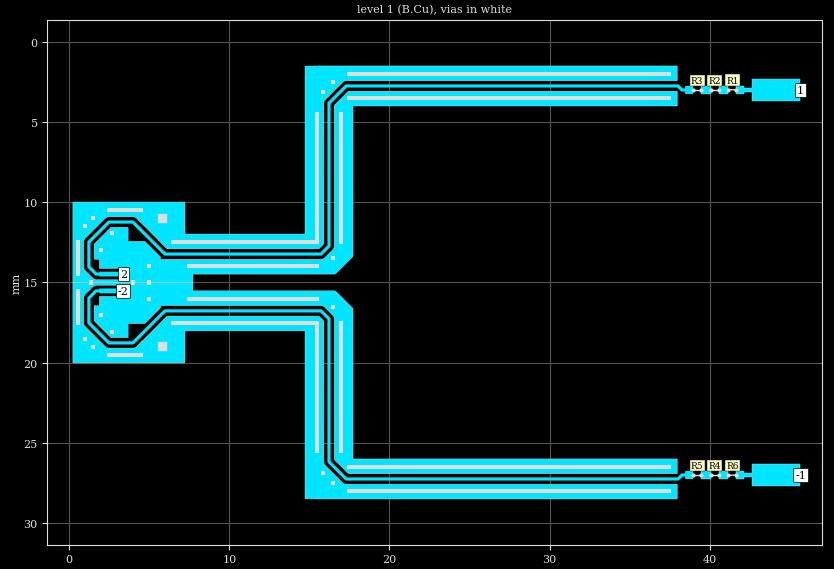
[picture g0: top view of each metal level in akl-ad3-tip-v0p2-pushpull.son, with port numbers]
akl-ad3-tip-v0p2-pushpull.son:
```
FTYP SONPROJ 19 ! Sonnet Project File
VER 18.01
HEADER
LIC antikernel2.1.51176 90e2ba8817c1 havequick azonenberg FullLicense
DAT 10/08/2021 08:49:10
BUILT_BY_CREATED dxf 18.01 09/25/2021 05:46:11
BUILT_BY_SAVED sonnet 18.01
MDATE 10/08/2021 08:49:10
HDATE 10/08/2021 08:49:10
ANN Created by dxfgeo, Sonnet Software Inc.
END HEADER
DIM
ANG DEG
CAP PF
CON /OH
FREQ GHZ
IND NH
LNG MM
RES OH
END DIM
CONTROL
VARSWP
OPTIONS  -dj
SPEED 1
CACHE_ABS 2
Q_ACC N
END CONTROL
GEO
TMET "Free Space" 0 FREESPACE 376.7303136 0 0 0
BMET "Lossless" 0 SUP 0 0 0 0
MET "Copper 1oz thick" 1 TMM 58000000 0.5 0.035 2
MET "Unknown_metal" 1 VOL INF 0
BOX 2 45.675 30 3654 2400 20 0
      5 1 1 0 0 0 0 "Air"
      0.035 4.3 1 0.02 0 0 0 "Soldermask"
      0.1016 3.2 1 0.002 0 0 0 "Panasonic R-F775"
TECHLAY METAL B.Cu L1D0 -1 -65534 
1 0 0 N 438 1 1 100 100 0 0 0 Y
END
END
TECHLAY VIA Via1 L2D0 -2 -65534 
VIA POLYGON
1 0 -1 N 485 1 1 100 100 0 0 0 Y
TOLEVEL 2 RING NOCOVERS
END
END
LORGN 0 30 U 
POR1 CUP Auto
GNDREF AUTO
TERMW FEED
POLY 7 1
122
2 50 0 0 0 3.375 14.475 
CUPGRP "Auto" LOCAL
ID 483
END
POR1 BOX
POLY 321 1
11
1 50 0 0 0 45.675 2.975 
POR1 BOX
POLY 403 1
11
-1 50 0 0 0 45.675 27.025 
POR1 CUP Auto
GNDREF AUTO
TERMW FEED
POLY 409 1
122
-2 50 0 0 0 3.375 15.525 
CUPGRP "Auto" LOCAL
ID 484
END
SMD 1 "R1"
ID 338
GNDREF AUTO
SBOX 41.3 41.55 2.8375 3.0875
PBSHW N
LPOS 41.425 2.8375
TYPE SPARAM 1
SMDP 1 41.675 2.975 R 3 1 
EXSMDP
GNDREF AUTO
TERMW FEED
END EXSMDP
SMDP 1 41.175 2.95 L 4 2 
EXSMDP
GNDREF AUTO
TERMW FEED
END EXSMDP
END
SMD 1 "R2"
ID 343
GNDREF AUTO
SBOX 40.2 40.45 2.85 3.1
PBSHW N
LPOS 40.325 2.85
TYPE SPARAM 1
SMDP 1 40.575 2.975 R 5 1 
EXSMDP
GNDREF AUTO
TERMW FEED
END EXSMDP
SMDP 1 40.075 2.975 L 6 2 
EXSMDP
GNDREF AUTO
TERMW FEED
END EXSMDP
END
SMD 1 "R3"
ID 348
GNDREF AUTO
SBOX 39.1 39.35 2.85 3.1
PBSHW N
LPOS 39.225 2.85
TYPE SPARAM 2
SMDP 1 39.475 2.975 R 7 1 
EXSMDP
GNDREF AUTO
TERMW FEED
END EXSMDP
SMDP 1 38.975 2.975 L 8 2 
EXSMDP
GNDREF AUTO
TERMW FEED
END EXSMDP
END
SMD 1 "R4"
ID 379
GNDREF AUTO
SBOX 40.2 40.45 26.9 27.15
PBSHW N
LPOS 40.325 26.9
TYPE SPARAM 1
SMDP 1 40.575 27.025 R 9 1 
EXSMDP
GNDREF AUTO
TERMW FEED
END EXSMDP
SMDP 1 40.075 27.025 L 10 2 
EXSMDP
GNDREF AUTO
TERMW FEED
END EXSMDP
END
SMD 1 "R5"
ID 382
GNDREF AUTO
SBOX 39.1 39.35 26.9 27.15
PBSHW N
LPOS 39.225 26.9
TYPE SPARAM 2
SMDP 1 39.475 27.025 R 11 1 
EXSMDP
GNDREF AUTO
TERMW FEED
END EXSMDP
SMDP 1 38.975 27.025 L 12 2 
EXSMDP
GNDREF AUTO
TERMW FEED
END EXSMDP
END
SMD 1 "R6"
ID 387
GNDREF AUTO
SBOX 41.3 41.55 26.9125 27.1625
PBSHW N
LPOS 41.425 26.9125
TYPE SPARAM 1
SMDP 1 41.675 27.025 R 13 1 
EXSMDP
GNDREF AUTO
TERMW FEED
END EXSMDP
SMDP 1 41.175 27.05 L 14 2 
EXSMDP
GNDREF AUTO
TERMW FEED
END EXSMDP
END
NUM 48
1 5 0 N 5 1 1 100 100 0 0 0 Y
TLAYNAM B.Cu INH
39.475 3.225
39.475 2.725
40.075 2.725
40.075 3.225
39.475 3.225
END
1 5 0 N 6 1 1 100 100 0 0 0 Y
TLAYNAM B.Cu INH
40.575 3.225
40.575 2.725
41.175 2.725
41.175 3.225
40.575 3.225
END
1 125 0 N 7 1 1 100 100 0 0 0 Y
TLAYNAM B.Cu INH
1.875 14.625
1.875 14.575
1.67 14.575
1.66 14.574
1.651 14.572
1.641 14.569
1.632 14.566
1.624 14.561
1.615 14.555
1.608 14.549
1.151 14.092
1.145 14.085
1.139 14.076
1.134 14.068
1.131 14.059
1.128 14.049
1.126 14.04
1.125 14.03
1.125 12.47
1.126 12.46
1.128 12.451
1.131 12.441
1.134 12.432
1.139 12.424
1.145 12.415
1.151 12.408
2.408 11.151
2.415 11.145
2.424 11.139
2.432 11.134
2.441 11.131
2.451 11.128
2.46 11.126
2.47 11.125
3.98 11.125
3.99 11.126
3.999 11.128
4.009 11.131
4.018 11.134
4.026 11.139
4.035 11.145
4.042 11.151
4.049 11.158
4.055 11.165
6.016 13.125
15.684 13.125
16.125 12.684
16.125 3.795
16.126 3.785
16.128 3.776
16.131 3.766
16.134 3.757
16.139 3.749
16.145 3.74
16.151 3.733
17.233 2.651
17.24 2.645
17.249 2.639
17.257 2.634
17.266 2.631
17.276 2.628
17.285 2.626
17.295 2.625
38.03 2.625
38.04 2.626
38.049 2.628
38.059 2.631
38.068 2.634
38.076 2.639
38.085 2.645
38.092 2.651
38.099 2.658
38.105 2.665
38.316 2.875
38.475 2.875
38.475 2.725
38.975 2.725
38.975 3.225
38.475 3.225
38.475 3.075
38.27 3.075
38.26 3.074
38.251 3.072
38.241 3.069
38.232 3.066
38.224 3.061
38.215 3.055
38.208 3.049
37.984 2.825
17.341 2.825
16.325 3.841
16.325 12.73
16.324 12.74
16.322 12.749
16.319 12.759
16.316 12.768
16.311 12.776
16.305 12.785
16.299 12.792
15.792 13.299
15.785 13.305
15.776 13.311
15.768 13.316
15.759 13.319
15.749 13.322
15.74 13.324
15.73 13.325
5.97 13.325
5.96 13.324
5.951 13.322
5.941 13.319
5.932 13.316
5.924 13.311
5.915 13.305
5.908 13.299
3.934 11.325
2.516 11.325
1.325 12.516
1.325 13.984
1.716 14.375
1.875 14.375
1.875 14.325
3.375 14.325
3.375 14.625
1.875 14.625
END
1 13 0 N 321 1 1 100 100 0 0 0 Y
TLAYNAM B.Cu INH
45.675 2.275
42.675 2.275
42.675 2.875
42.175 2.875
42.175 2.725
41.675 2.725
41.675 3.225
42.175 3.225
42.175 3.075
42.675 3.075
42.675 3.675
45.675 3.675
45.675 2.275
END
1 5 0 N 396 1 1 100 100 0 0 0 Y
TLAYNAM B.Cu INH
40.575 26.775
40.575 27.275
41.175 27.275
41.175 26.775
40.575 26.775
END
1 5 0 N 399 1 1 100 100 0 0 0 Y
TLAYNAM B.Cu INH
39.475 26.775
39.475 27.275
40.075 27.275
40.075 26.775
39.475 26.775
END
1 13 0 N 403 1 1 100 100 0 0 0 Y
TLAYNAM B.Cu INH
45.675 27.725
42.675 27.725
42.675 27.125
42.175 27.125
42.175 27.275
41.675 27.275
41.675 26.775
42.175 26.775
42.175 26.925
42.675 26.925
42.675 26.325
45.675 26.325
45.675 27.725
END
1 125 0 N 409 1 1 100 100 0 0 0 Y
TLAYNAM B.Cu INH
1.875 15.375
1.875 15.425
1.67 15.425
1.66 15.426
1.651 15.428
1.641 15.431
1.632 15.434
1.624 15.439
1.615 15.445
1.608 15.451
1.151 15.908
1.145 15.915
1.139 15.924
1.134 15.932
1.131 15.941
1.128 15.951
1.126 15.96
1.125 15.97
1.125 17.53
1.126 17.54
1.128 17.549
1.131 17.559
1.134 17.568
1.139 17.576
1.145 17.585
1.151 17.592
2.408 18.849
2.415 18.855
2.424 18.861
2.432 18.866
2.441 18.869
2.451 18.872
2.46 18.874
2.47 18.875
3.98 18.875
3.99 18.874
3.999 18.872
4.009 18.869
4.018 18.866
4.026 18.861
4.035 18.855
4.042 18.849
4.049 18.842
4.055 18.835
6.016 16.875
15.684 16.875
16.125 17.316
16.125 26.205
16.126 26.215
16.128 26.224
16.131 26.234
16.134 26.243
16.139 26.251
16.145 26.26
16.151 26.267
17.233 27.349
17.24 27.355
17.249 27.361
17.257 27.366
17.266 27.369
17.276 27.372
17.285 27.374
17.295 27.375
38.03 27.375
38.04 27.374
38.049 27.372
38.059 27.369
38.068 27.366
38.076 27.361
38.085 27.355
38.092 27.349
38.099 27.342
38.105 27.335
38.316 27.125
38.475 27.125
38.475 27.275
38.975 27.275
38.975 26.775
38.475 26.775
38.475 26.925
38.27 26.925
38.26 26.926
38.251 26.928
38.241 26.931
38.232 26.934
38.224 26.939
38.215 26.945
38.208 26.951
37.984 27.175
17.341 27.175
16.325 26.159
16.325 17.27
16.324 17.26
16.322 17.251
16.319 17.241
16.316 17.232
16.311 17.224
16.305 17.215
16.299 17.208
15.792 16.701
15.785 16.695
15.776 16.689
15.768 16.684
15.759 16.681
15.749 16.678
15.74 16.676
15.73 16.675
5.97 16.675
5.96 16.676
5.951 16.678
5.941 16.681
5.932 16.684
5.924 16.689
5.915 16.695
5.908 16.701
3.934 18.675
2.516 18.675
1.325 17.484
1.325 16.016
1.716 15.625
1.875 15.625
1.875 15.675
3.375 15.675
3.375 15.375
1.875 15.375
END
1 321 0 N 419 1 1 100 100 0 0 0 Y
TLAYNAM B.Cu INH
37.976 27.6
37.8745 27.6
37.869 27.599
17.315 27.599
17.297 27.601
17.296 27.601
17.285 27.599
17.273 27.599
17.233 27.594
17.178 27.578
17.117 27.546
17.105 27.536
17.098 27.529
17.065 27.502
17.064 27.501
17.059 27.494
16.006 26.441
16 26.436
15.997 26.434
15.995 26.433
15.994 26.432
15.994 26.431
15.99 26.427
15.984 26.419
15.981 26.416
15.954 26.382
15.923 26.326
15.906 26.267
15.899 26.198
15.899 26.196
15.901 26.185
15.9 17.462
15.901 17.45
15.899 17.439
15.897 17.429
15.894 17.418
15.89 17.408
15.885 17.398
15.871 17.38
15.62 17.129
15.602 17.115
15.592 17.11
15.582 17.106
15.572 17.103
15.55 17.099
6.15 17.099
6.139 17.101
6.129 17.103
6.118 17.106
6.108 17.11
6.098 17.115
6.08 17.129
5.55 17.659
5.536 17.677
5.5321475 17.684705
4.558705 18.6581475
4.551 18.662
4.549 18.664
4.545 18.667
4.54 18.67
4.535 18.674
4.216 18.993
4.209 19.002
4.206 19.006
4.206 19.007
4.157 19.047
4.101 19.077
4.041 19.094
4.002 19.099
3.99 19.099
3.972 19.101
3.971 19.101
3.96 19.099
2.49 19.099
2.472 19.101
2.471 19.101
2.46 19.099
2.448 19.099
2.408 19.094
2.353 19.078
2.292 19.046
2.244 19.007
2.243 19.006
2.234 18.994
1.006 17.766
1 17.761
0.997 17.759
0.995 17.758
0.994 17.757
0.994 17.756
0.99 17.752
0.984 17.744
0.981 17.741
0.954 17.707
0.924 17.651
0.912 17.614
0.909 17.602
0.907 17.597
0.906 17.594
0.905 17.592
0.903 17.57
0.901 17.559
0.898 17.527
0.899 17.521
0.901 17.51
0.9 16.002
0.901 15.99
0.899 15.972
0.899 15.971
0.901 15.96
0.901 15.948
0.906 15.908
0.922 15.853
0.954 15.792
0.993 15.744
0.994 15.743
1.006 15.734
1.434 15.306
1.439 15.3
1.441 15.297
1.444 15.294
1.487 15.259
1.504 15.248
1.505 15.247
1.548 15.224
1.566 15.219
1.577 15.214
1.586 15.209
1.596 15.203
1.604 15.196
1.612 15.188
1.619 15.18
1.624 15.175
3.6 15.175
3.6 15.292
3.596 15.314
3.597 15.326
3.6 15.359
3.6 15.6894
3.596 15.723
3.596 15.736
3.597 15.747
3.599 15.758
3.6 15.7605
3.6 15.875
1.875 15.875
1.875 16.175
1.875 16.425985
1.875 16.45
1.5518175 16.45
1.551 16.453
1.55 16.464
1.55 17.35
1.552 17.361
1.554 17.371
1.554 17.372
1.557 17.382
1.561 17.392
1.566 17.402
1.58 17.42
1.587 17.428
1.591 17.431
2.581 18.421
2.59 18.428
2.592 18.429
2.598 18.434
2.604 18.437
2.609 18.44
2.619 18.444
2.629 18.447
2.64 18.449
2.649 18.45
3.526 18.45
3.537 18.448
3.542 18.447
3.675 18.447
3.675 17.571
4.655 17.571
4.666 17.573
4.678 17.573
4.689 17.571
4.699 17.569
4.71 17.566
4.72 17.562
4.73 17.557
4.739 17.551
4.748 17.544
4.756 17.536
4.759 17.531
5.668 16.622
5.676 16.615
5.683 16.607
5.689 16.597
5.694 16.588
5.699 16.577
5.6996 16.575
5.7 16.575
5.7 16.5736675
5.702 16.567
5.704 16.556
5.705 16.545
5.705 16.534
5.704 16.523
5.702 16.512
5.7 16.5053325
5.7 16.45
15.71 16.45
15.722 16.448
15.729 16.448
15.738 16.45
15.748 16.45
15.786 16.454
15.847 16.472
15.908 16.504
15.956 16.543
15.957 16.544
15.966 16.556
16.444 17.034
16.45 17.039
16.453 17.041
16.456 17.044
16.497 17.093
16.527 17.149
16.544 17.209
16.55 17.26
16.551 17.27
16.552 17.274
16.552 17.279
16.55 17.288
16.55 26.024
16.552 26.034
16.552 26.036
16.554 26.046
16.557 26.057
16.561 26.067
16.566 26.077
16.58 26.095
17.406 26.921
17.415 26.928
17.417 26.929
17.423 26.934
17.429 26.937
17.434 26.94
17.444 26.944
17.454 26.947
17.465 26.949
17.474 26.95
37.976 26.95
37.976 26.025
37.8745 26.025
37.869 26.024
19.4 26.024
19.4 26.025
18.734 26.025
18.73 26.026
18.723 26.026
18.718 26.025
17.725 26.025
17.725 25.037
17.725 25.036
17.724 25.026
17.724 25.023
17.725 25.018
17.725 24.6
17.726 24.6
17.726 16.669
17.724 16.658
17.722 16.648
17.719 16.637
17.715 16.627
17.71 16.617
17.696 16.599
17.689 16.591
17.684 16.587
16.651 15.554
16.633 15.54
16.623 15.535
16.613 15.531
16.603 15.528
16.581 15.524
7.987 15.524
7.978 15.526
7.973 15.526
7.963 15.524
7.726 15.524
7.726 15.287
7.724 15.278
7.724 15.273
7.726 15.263
7.726 15
0.225 15
0.225 18.881
0.225 20.025
7.225 20.025
7.225 18.8865
7.226 18.881
7.226 18.287
7.224 18.278
7.224 18.273
7.226 18.263
7.226 18.025
7.463 18.025
7.471 18.023
7.472 18.023
7.487 18.025
14.463 18.025
14.471 18.023
14.472 18.023
14.487 18.025
14.723 18.025
14.725 18.026
14.725 18.263
14.727 18.271
14.727 18.272
14.725 18.287
14.725 26.631
14.725 28.519
15.275 28.519
15.275 28.525
37.976 28.525
37.976 27.6
END
1 332 0 N 420 1 1 100 100 0 0 0 Y
TLAYNAM B.Cu INH
7.726 14.737
7.724 14.727
7.724 14.722
7.726 14.713
7.726 14.476
7.963 14.476
7.973 14.474
7.978 14.474
7.987 14.476
16.581 14.476
16.603 14.472
16.613 14.469
16.623 14.465
16.633 14.46
16.651 14.446
17.684 13.413
17.689 13.409
17.696 13.401
17.71 13.383
17.715 13.373
17.719 13.363
17.722 13.352
17.724 13.342
17.726 13.331
17.726 5.4
17.725 5.4
17.725 4.982
17.724 4.977
17.724 4.974
17.725 4.964
17.725 4.964
17.725 4.964
17.725 4.963
17.725 4.963
17.725 3.975
18.718 3.975
18.723 3.974
18.73 3.974
18.734 3.975
19.4 3.975
19.4 3.976
37.869 3.976
37.8745 3.975
37.976 3.975
37.976 3.05
37.85 3.05
37.85 3.05
17.474 3.05
17.465 3.051
17.454 3.053
17.444 3.056
17.434 3.06
17.429 3.063
17.423 3.066
17.417 3.071
17.415 3.072
17.406 3.079
16.58 3.905
16.566 3.923
16.561 3.933
16.557 3.943
16.554 3.954
16.552 3.964
16.552 3.966
16.55 3.976
16.55 12.712
16.552 12.721
16.552 12.726
16.551 12.73
16.55 12.74
16.544 12.791
16.527 12.851
16.497 12.907
16.456 12.956
16.453 12.959
16.45 12.961
16.444 12.966
15.966 13.444
15.957 13.456
15.956 13.457
15.908 13.496
15.847 13.528
15.786 13.546
15.748 13.55
15.738 13.55
15.729 13.552
15.722 13.552
15.71 13.55
5.7 13.55
5.7 13.49466667
5.702 13.488
5.704 13.477
5.705 13.466
5.705 13.455
5.704 13.444
5.702 13.433
5.7 13.42633333
5.7 13.425
5.6996 13.425
5.699 13.423
5.694 13.412
5.689 13.403
5.683 13.393
5.676 13.385
5.668 13.378
4.759 12.469
4.756 12.464
4.748 12.456
4.739 12.449
4.73 12.443
4.72 12.438
4.71 12.434
4.699 12.431
4.689 12.429
4.678 12.427
4.666 12.427
4.655 12.429
3.675 12.429
3.675 11.553
3.542 11.553
3.537 11.552
3.526 11.55
2.649 11.55
2.64 11.551
2.629 11.553
2.619 11.556
2.609 11.56
2.604 11.563
2.598 11.566
2.592 11.571
2.59 11.572
2.581 11.579
1.591 12.569
1.587 12.572
1.58 12.58
1.566 12.598
1.561 12.608
1.557 12.618
1.554 12.628
1.554 12.629
1.552 12.639
1.55 12.65
1.55 13.536
1.551 13.547
1.551818182 13.55
1.875 13.55
1.875 13.57401418
1.875 13.57401418
1.875 13.825
1.875 14.125
3.6 14.125
3.6 14.2395
3.599 14.242
3.597 14.253
3.596 14.264
3.596 14.277
3.6 14.3106
3.6 14.641
3.597 14.674
3.596 14.686
3.6 14.708
3.6 14.825
1.624 14.825
1.619 14.82
1.612 14.812
1.604 14.804
1.596 14.797
1.586 14.791
1.577 14.786
1.566 14.781
1.548 14.776
1.505 14.753
1.504 14.752
1.487 14.741
1.444 14.706
1.441 14.703
1.439 14.7
1.434 14.694
1.006 14.266
0.994 14.257
0.993 14.256
0.954 14.208
0.922 14.147
0.906 14.092
0.901 14.052
0.901 14.04
0.899 14.029
0.899 14.028
0.901 14.01
0.9 13.998
0.901 12.49
0.899 12.479
0.898 12.473
0.901 12.441
0.903 12.43
0.905 12.408
0.906 12.406
0.907 12.403
0.909 12.398
0.912 12.386
0.924 12.349
0.954 12.293
0.981 12.259
0.984 12.256
0.99 12.248
0.994 12.244
0.994 12.243
0.995 12.242
0.997 12.241
1 12.239
1.006 12.234
2.234 11.006
2.243 10.994
2.244 10.993
2.292 10.954
2.353 10.922
2.408 10.906
2.448 10.901
2.46 10.901
2.471 10.899
2.472 10.899
2.49 10.901
3.96 10.901
3.971 10.899
3.972 10.899
3.99 10.901
4.002 10.901
4.041 10.906
4.101 10.923
4.157 10.953
4.206 10.993
4.206 10.994
4.209 10.998
4.216 11.007
4.535 11.326
4.54 11.33
4.545 11.333
4.549 11.336
4.551 11.338
4.558705 11.3418525
5.5321475 12.315295
5.536 12.323
5.55 12.341
6.08 12.871
6.098 12.885
6.108 12.89
6.118 12.894
6.129 12.897
6.139 12.899
6.15 12.901
15.55 12.901
15.572 12.897
15.582 12.894
15.592 12.89
15.602 12.885
15.62 12.871
15.871 12.62
15.885 12.602
15.89 12.592
15.894 12.582
15.897 12.571
15.899 12.561
15.901 12.55
15.9 12.538
15.901 3.815
15.899 3.804
15.899 3.802
15.906 3.733
15.923 3.674
15.954 3.618
15.981 3.584
15.984 3.581
15.99 3.573
15.994 3.569
15.994 3.568
15.995 3.567
15.997 3.566
16 3.564
16.006 3.559
17.059 2.506
17.064 2.499
17.065 2.498
17.098 2.471
17.105 2.464
17.117 2.454
17.178 2.422
17.233 2.406
17.273 2.401
17.285 2.401
17.296 2.399
17.297 2.399
17.315 2.401
37.869 2.401
37.8745 2.4
37.976 2.4
37.976 1.475
15.275 1.475
15.275 1.481
14.725 1.481
14.725 3.369
14.725 11.713
14.727 11.728
14.727 11.729
14.725 11.737
14.725 11.974
14.723 11.975
14.487 11.975
14.472 11.977
14.471 11.977
14.463 11.975
7.487 11.975
7.472 11.977
7.471 11.977
7.463 11.975
7.226 11.975
7.226 11.737
7.224 11.727
7.224 11.722
7.226 11.713
7.226 11.119
7.225 11.1135
7.225 9.975
6.08 9.975
6.08 9.975
1.368 9.975
1.368 9.975
0.225 9.975
0.225 11.119
0.225 11.119
0.225 15
7.726 15
7.726 14.737
END
VIA POLYGON
1 5 -1 N 74 1 1 100 100 0 0 0 Y
TOLEVEL 2 RING NOCOVERS
TLAYNAM Via1 INH
16.85 12.6
16.85 4.35
17.1 4.35
17.1 12.6
16.85 12.6
END
VIA POLYGON
1 5 -1 N 75 1 1 100 100 0 0 0 Y
TOLEVEL 2 RING NOCOVERS
TLAYNAM Via1 INH
17.35 3.6
17.35 3.35
37.6 3.35
37.6 3.6
17.35 3.6
END
VIA POLYGON
1 5 -1 N 80 1 1 100 100 0 0 0 Y
TOLEVEL 2 RING NOCOVERS
TLAYNAM Via1 INH
4.85 14.1
4.85 13.85
5.1 13.85
5.1 14.1
4.85 14.1
END
VIA POLYGON
1 5 -1 N 81 1 1 100 100 0 0 0 Y
TOLEVEL 2 RING NOCOVERS
TLAYNAM Via1 INH
7.35 14.1
7.35 13.85
15.6 13.85
15.6 14.1
7.35 14.1
END
VIA POLYGON
1 5 -1 N 91 1 1 100 100 0 0 0 Y
TOLEVEL 2 RING NOCOVERS
TLAYNAM Via1 INH
16.35 13.6
16.35 13.35
16.6 13.35
16.6 13.6
16.35 13.6
END
VIA POLYGON
1 5 -1 N 92 1 1 100 100 0 0 0 Y
TOLEVEL 2 RING NOCOVERS
TLAYNAM Via1 INH
1.85 13.1
1.85 12.85
2.1 12.85
2.1 13.1
1.85 13.1
END
VIA POLYGON
1 5 -1 N 93 1 1 100 100 0 0 0 Y
TOLEVEL 2 RING NOCOVERS
TLAYNAM Via1 INH
0.4 14.6
0.4 12.35
0.65 12.35
0.65 14.6
0.4 14.6
END
VIA POLYGON
1 5 -1 N 96 1 1 100 100 0 0 0 Y
TOLEVEL 2 RING NOCOVERS
TLAYNAM Via1 INH
15.725 3.225
15.725 2.975
15.975 2.975
15.975 3.225
15.725 3.225
END
VIA POLYGON
1 5 -1 N 97 1 1 100 100 0 0 0 Y
TOLEVEL 2 RING NOCOVERS
TLAYNAM Via1 INH
16.35 2.6
16.35 2.35
16.6 2.35
16.6 2.6
16.35 2.6
END
VIA POLYGON
1 5 -1 N 98 1 1 100 100 0 0 0 Y
TOLEVEL 2 RING NOCOVERS
TLAYNAM Via1 INH
17.35 2.1
17.35 1.85
37.6 1.85
37.6 2.1
17.35 2.1
END
VIA POLYGON
1 5 -1 N 112 1 1 100 100 0 0 0 Y
TOLEVEL 2 RING NOCOVERS
TLAYNAM Via1 INH
2.54 12.05
2.54 11.8
2.79 11.8
2.79 12.05
2.54 12.05
END
VIA POLYGON
1 5 -1 N 113 1 1 100 100 0 0 0 Y
TOLEVEL 2 RING NOCOVERS
TLAYNAM Via1 INH
0.85 11.6
0.85 11.35
1.1 11.35
1.1 11.6
0.85 11.6
END
VIA POLYGON
1 5 -1 N 116 1 1 100 100 0 0 0 Y
TOLEVEL 2 RING NOCOVERS
TLAYNAM Via1 INH
1.35 11.1
1.35 10.85
1.6 10.85
1.6 11.1
1.35 11.1
END
VIA POLYGON
1 5 -1 N 117 1 1 100 100 0 0 0 Y
TOLEVEL 2 RING NOCOVERS
TLAYNAM Via1 INH
5.55 11.3
5.55 10.75
6.125 10.75
6.125 11.3
5.55 11.3
END
VIA POLYGON
1 5 -1 N 118 1 1 100 100 0 0 0 Y
TOLEVEL 2 RING NOCOVERS
TLAYNAM Via1 INH
2.35 10.6
2.35 10.35
4.6 10.35
4.6 10.6
2.35 10.6
END
VIA POLYGON
1 8 -1 N 265 1 1 100 100 0 0 0 Y
TOLEVEL 2 RING NOCOVERS
TLAYNAM Via1 INH
15.6 12.35
15.6 4.35
15.35 4.35
15.35 12.35
6.35 12.35
6.35 12.6
15.6 12.6
15.6 12.35
END
VIA POLYGON
1 5 -1 N 385 1 1 100 100 0 0 0 Y
TOLEVEL 2 RING NOCOVERS
TLAYNAM Via1 INH
2.35 19.4
2.35 19.65
4.6 19.65
4.6 19.4
2.35 19.4
END
VIA POLYGON
1 5 -1 N 391 1 1 100 100 0 0 0 Y
TOLEVEL 2 RING NOCOVERS
TLAYNAM Via1 INH
17.35 27.9
17.35 28.15
37.6 28.15
37.6 27.9
17.35 27.9
END
VIA POLYGON
1 5 -1 N 392 1 1 100 100 0 0 0 Y
TOLEVEL 2 RING NOCOVERS
TLAYNAM Via1 INH
16.35 27.4
16.35 27.65
16.6 27.65
16.6 27.4
16.35 27.4
END
VIA POLYGON
1 5 -1 N 394 1 1 100 100 0 0 0 Y
TOLEVEL 2 RING NOCOVERS
TLAYNAM Via1 INH
7.35 15.9
7.35 16.15
15.6 16.15
15.6 15.9
7.35 15.9
END
VIA POLYGON
1 8 -1 N 395 1 1 100 100 0 0 0 Y
TOLEVEL 2 RING NOCOVERS
TLAYNAM Via1 INH
15.6 17.65
15.6 25.65
15.35 25.65
15.35 17.65
6.35 17.65
6.35 17.4
15.6 17.4
15.6 17.65
END
VIA POLYGON
1 5 -1 N 397 1 1 100 100 0 0 0 Y
TOLEVEL 2 RING NOCOVERS
TLAYNAM Via1 INH
17.35 26.4
17.35 26.65
37.6 26.65
37.6 26.4
17.35 26.4
END
VIA POLYGON
1 5 -1 N 398 1 1 100 100 0 0 0 Y
TOLEVEL 2 RING NOCOVERS
TLAYNAM Via1 INH
5.55 18.7
5.55 19.25
6.125 19.25
6.125 18.7
5.55 18.7
END
VIA POLYGON
1 5 -1 N 400 1 1 100 100 0 0 0 Y
TOLEVEL 2 RING NOCOVERS
TLAYNAM Via1 INH
2.54 17.95
2.54 18.2
2.79 18.2
2.79 17.95
2.54 17.95
END
VIA POLYGON
1 5 -1 N 401 1 1 100 100 0 0 0 Y
TOLEVEL 2 RING NOCOVERS
TLAYNAM Via1 INH
1.85 16.9
1.85 17.15
2.1 17.15
2.1 16.9
1.85 16.9
END
VIA POLYGON
1 5 -1 N 402 1 1 100 100 0 0 0 Y
TOLEVEL 2 RING NOCOVERS
TLAYNAM Via1 INH
1.35 18.9
1.35 19.15
1.6 19.15
1.6 18.9
1.35 18.9
END
VIA POLYGON
1 5 -1 N 406 1 1 100 100 0 0 0 Y
TOLEVEL 2 RING NOCOVERS
TLAYNAM Via1 INH
0.4 15.4
0.4 17.65
0.65 17.65
0.65 15.4
0.4 15.4
END
VIA POLYGON
1 5 -1 N 407 1 1 100 100 0 0 0 Y
TOLEVEL 2 RING NOCOVERS
TLAYNAM Via1 INH
15.725 26.775
15.725 27.025
15.975 27.025
15.975 26.775
15.725 26.775
END
VIA POLYGON
1 5 -1 N 408 1 1 100 100 0 0 0 Y
TOLEVEL 2 RING NOCOVERS
TLAYNAM Via1 INH
16.85 17.4
16.85 25.65
17.1 25.65
17.1 17.4
16.85 17.4
END
VIA POLYGON
1 5 -1 N 412 1 1 100 100 0 0 0 Y
TOLEVEL 2 RING NOCOVERS
TLAYNAM Via1 INH
0.85 18.4
0.85 18.65
1.1 18.65
1.1 18.4
0.85 18.4
END
VIA POLYGON
1 5 -1 N 413 1 1 100 100 0 0 0 Y
TOLEVEL 2 RING NOCOVERS
TLAYNAM Via1 INH
4.85 15.9
4.85 16.15
5.1 16.15
5.1 15.9
4.85 15.9
END
VIA POLYGON
1 5 -1 N 414 1 1 100 100 0 0 0 Y
TOLEVEL 2 RING NOCOVERS
TLAYNAM Via1 INH
16.35 16.4
16.35 16.65
16.6 16.65
16.6 16.4
16.35 16.4
END
VIA POLYGON
1 5 -1 N 421 1 1 100 100 0 0 0 Y
TOLEVEL 2 RING NOCOVERS
TLAYNAM Via1 INH
4.1 15
3.85 15
3.85 15.15
4.1 15.15
4.1 15
END
VIA POLYGON
1 5 -1 N 422 1 1 100 100 0 0 0 Y
TOLEVEL 2 RING NOCOVERS
TLAYNAM Via1 INH
4.1 14.85
3.85 14.85
3.85 15
4.1 15
4.1 14.85
END
VIA POLYGON
1 5 -1 N 423 1 1 100 100 0 0 0 Y
TOLEVEL 2 RING NOCOVERS
TLAYNAM Via1 INH
5.1 15
4.85 15
4.85 15.15
5.1 15.15
5.1 15
END
VIA POLYGON
1 5 -1 N 424 1 1 100 100 0 0 0 Y
TOLEVEL 2 RING NOCOVERS
TLAYNAM Via1 INH
5.1 14.85
4.85 14.85
4.85 15
5.1 15
5.1 14.85
END
VIA POLYGON
1 5 -1 N 425 1 1 100 100 0 0 0 Y
TOLEVEL 2 RING NOCOVERS
TLAYNAM Via1 INH
1.451 15
1.201 15
1.201 15.131
1.451 15.131
1.451 15
END
VIA POLYGON
1 5 -1 N 426 1 1 100 100 0 0 0 Y
TOLEVEL 2 RING NOCOVERS
TLAYNAM Via1 INH
1.451 14.869
1.201 14.869
1.201 15
1.451 15
1.451 14.869
END
END GEO
OPT
MAX 100
END OPT
VARSWP
ENABLED Y
FREQ Y AY ABS_ENTRY 0.1 20.0 -1 300 
END
END VARSWP
SMDFILES
1 "../../../../../../../bulk/datasheets/Vishay/Resistors/FC/0402/FC0402-FlipChip-200 Ohm.s2p"
2 "../../../../../../../bulk/datasheets/Vishay/Resistors/FC/0402/FC0402-FlipChip-50 Ohm.s2p"
END SMDFILES
```
